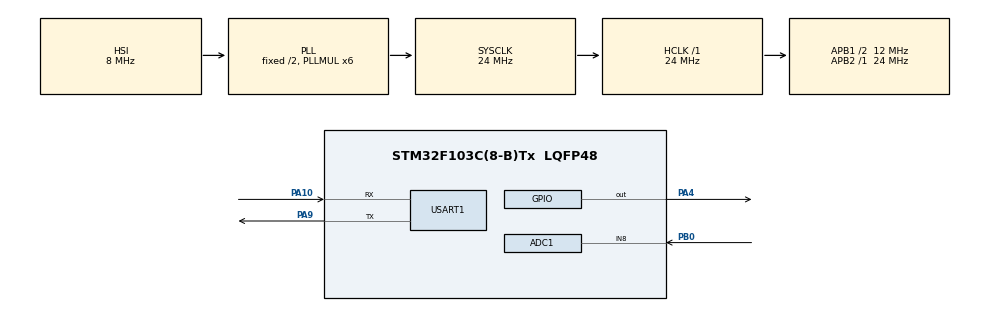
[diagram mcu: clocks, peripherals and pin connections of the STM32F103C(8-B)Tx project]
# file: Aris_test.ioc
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ADC1.Channel-0\#ChannelRegularConversion=ADC_CHANNEL_8
ADC1.ContinuousConvMode=ENABLE
ADC1.NbrOfConversionFlag=1
ADC1.Rank-0\#ChannelRegularConversion=1
ADC1.SamplingTime-0\#ChannelRegularConversion=ADC_SAMPLETIME_239CYCLES_5
ADC1.master=1
Dma.ADC1.0.Direction=DMA_PERIPH_TO_MEMORY
Dma.ADC1.0.Instance=DMA1_Channel1
Dma.ADC1.0.MemDataAlignment=DMA_MDATAALIGN_HALFWORD
Dma.ADC1.0.MemInc=DMA_MINC_ENABLE
Dma.ADC1.0.Mode=DMA_CIRCULAR
Dma.ADC1.0.PeriphDataAlignment=DMA_PDATAALIGN_HALFWORD
Dma.ADC1.0.PeriphInc=DMA_PINC_DISABLE
Dma.ADC1.0.Priority=DMA_PRIORITY_LOW
Dma.Request0=ADC1
Mcu.Family=STM32F1
Mcu.Name=STM32F103C(8-B)Tx
Mcu.Package=LQFP48
NVIC.DMA1_Channel1_IRQn=true\:0\:0\:false\:false\:true\:false\:true
NVIC.PriorityGroup=NVIC_PRIORITYGROUP_4
PA10.Mode=Asynchronous
PA10.Signal=USART1_RX
PA4.Signal=GPIO_Output
PA9.Mode=Asynchronous
PA9.Signal=USART1_TX
PB0.Signal=ADCx_IN8
PD0-OSC_IN.Mode=HSE-External-Oscillator
PD0-OSC_IN.Signal=RCC_OSC_IN
PD1-OSC_OUT.Mode=HSE-External-Oscillator
PD1-OSC_OUT.Signal=RCC_OSC_OUT
ProjectManager.HeapSize=0x200
ProjectManager.StackSize=0x400
ProjectManager.TargetToolchain=STM32CubeIDE
RCC.AHBFreq_Value=24000000
RCC.APB1CLKDivider=RCC_HCLK_DIV2
RCC.APB1Freq_Value=12000000
RCC.APB1TimFreq_Value=24000000
RCC.APB2Freq_Value=24000000
RCC.APB2TimFreq_Value=24000000
RCC.HCLKFreq_Value=24000000
RCC.PLLMUL=RCC_PLL_MUL6
RCC.SYSCLKFreq_VALUE=24000000
RCC.SYSCLKSource=RCC_SYSCLKSOURCE_PLLCLK
RCC.USBFreq_Value=24000000
SH.ADCx_IN8.0=ADC1_IN8,IN8
USART1.VirtualMode=VM_ASYNC
VP_SYS_VS_ND.Mode=No_Debug
board=custom

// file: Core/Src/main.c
/* USER CODE BEGIN Header */
/**
  ******************************************************************************
  * @file           : main.c
  * @brief          : Main program body
  ******************************************************************************
  * @attention
  *
  * <h2><center>&copy; Copyright (c) 2021 STMicroelectronics.
  * All rights reserved.</center></h2>
  *
  * This software component is licensed by ST under BSD 3-Clause license,
  * the "License"; You may not use this file except in compliance with the
  * License. You may obtain a copy of the License at:
  *                        opensource.org/licenses/BSD-3-Clause
  *
  ******************************************************************************
  */
/* USER CODE END Header */
#include "main.h"
#include "adc.h"
#include "dma.h"
#include "usart.h"
#include "gpio.h"

/* USER CODE BEGIN Includes */
#include <stdio.h>
/* USER CODE END Includes */

void SystemClock_Config(void);
/* USER CODE BEGIN PFP */
int _write(int file, char* p, int len)
{
	HAL_UART_Transmit(&huart1, p, len, 10);
	return len;
}
/* USER CODE END PFP */

/* USER CODE BEGIN 0 */
uint8_t buffer[256];
uint16_t adcCurrent;
uint16_t Voltage;
int16_t Amp;
/* USER CODE END 0 */

int main(void)
{

  /* MCU Configuration--------------------------------------------------------*/

  /* Reset of all peripherals, Initializes the Flash interface and the Systick. */
  HAL_Init();

  /* Configure the system clock */
  SystemClock_Config();

  /* Initialize all configured peripherals */
  MX_GPIO_Init();
  MX_DMA_Init();
  MX_ADC1_Init();
  MX_USART1_UART_Init();
  /* USER CODE BEGIN 2 */
  while(HAL_ADCEx_Calibration_Start(&hadc1) != HAL_OK);
  HAL_ADC_Start_DMA(&hadc1, &adcCurrent, 1);
  /* USER CODE END 2 */

  /* Infinite loop */
  while (1)
  {

    /* USER CODE BEGIN 3 */
	  Voltage = (adcCurrent / 4096.0) * 3300;
	  Amp = ((Voltage - 1650.0) / 185.0 ) * 1000;
	  sprintf(buffer, "%d,%d \r\n", adcCurrent, Amp);
	  HAL_UART_Transmit(&huart1, buffer, strlen(buffer), 10);
	  HAL_Delay(100);
  }
  /* USER CODE END 3 */
}

void SystemClock_Config(void)
{
  RCC_OscInitTypeDef RCC_OscInitStruct = {0};
  RCC_ClkInitTypeDef RCC_ClkInitStruct = {0};
  RCC_PeriphCLKInitTypeDef PeriphClkInit = {0};

  /** Initializes the RCC Oscillators according to the specified parameters
  * in the RCC_OscInitTypeDef structure.
  */
  RCC_OscInitStruct.OscillatorType = RCC_OSCILLATORTYPE_HSI;
  RCC_OscInitStruct.HSIState = RCC_HSI_ON;
  RCC_OscInitStruct.HSICalibrationValue = RCC_HSICALIBRATION_DEFAULT;
  RCC_OscInitStruct.PLL.PLLState = RCC_PLL_ON;
  RCC_OscInitStruct.PLL.PLLSource = RCC_PLLSOURCE_HSI_DIV2;
  RCC_OscInitStruct.PLL.PLLMUL = RCC_PLL_MUL6;
  if (HAL_RCC_OscConfig(&RCC_OscInitStruct) != HAL_OK)
  {
    Error_Handler();
  }
  /** Initializes the CPU, AHB and APB buses clocks
  */
  RCC_ClkInitStruct.ClockType = RCC_CLOCKTYPE_HCLK|RCC_CLOCKTYPE_SYSCLK
                              |RCC_CLOCKTYPE_PCLK1|RCC_CLOCKTYPE_PCLK2;
  RCC_ClkInitStruct.SYSCLKSource = RCC_SYSCLKSOURCE_PLLCLK;
  RCC_ClkInitStruct.AHBCLKDivider = RCC_SYSCLK_DIV1;
  RCC_ClkInitStruct.APB1CLKDivider = RCC_HCLK_DIV2;
  RCC_ClkInitStruct.APB2CLKDivider = RCC_HCLK_DIV1;

  if (HAL_RCC_ClockConfig(&RCC_ClkInitStruct, FLASH_LATENCY_0) != HAL_OK)
  {
    Error_Handler();
  }
  PeriphClkInit.PeriphClockSelection = RCC_PERIPHCLK_ADC;
  PeriphClkInit.AdcClockSelection = RCC_ADCPCLK2_DIV2;
  if (HAL_RCCEx_PeriphCLKConfig(&PeriphClkInit) != HAL_OK)
  {
    Error_Handler();
  }
}

void Error_Handler(void)
{
  __disable_irq();
  while (1)
  {
  }
}

/************************ (C) COPYRIGHT STMicroelectronics *****END OF FILE****/
